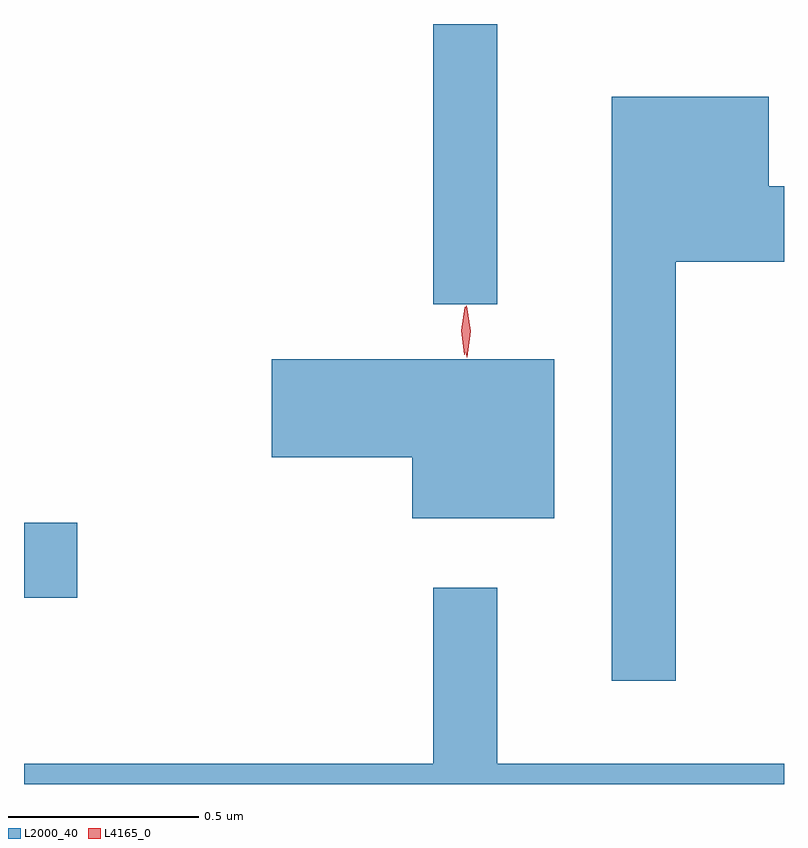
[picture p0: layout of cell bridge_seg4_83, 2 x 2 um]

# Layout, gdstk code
import gdstk
lib = gdstk.Library(unit=1e-6, precision=1e-09)
def R(c, l, rs):  # rectangles x0, y0, x1, y1
    for r in rs: c.add(gdstk.rectangle(r[:2], r[2:], *l))
def P(c, l, *ps):  # polygons
    for p in ps: c.add(gdstk.Polygon(p, *l))
L2000_40 = (2000, 40)
L4165_0 = (4165, 0)

bridge_seg4_83 = lib.new_cell('bridge_seg4_83')
R(bridge_seg4_83, L2000_40, [(1123.734,1375.361,1123.874,1375.559), (1124.811,1376.133,1124.979,1376.871)])
P(bridge_seg4_83, L2000_40, [(1125.449,1376.246),(1125.734,1376.246),(1125.734,1376.444),(1125.694,1376.444),(1125.694,1376.679),(1125.281,1376.679),(1125.281,1375.143),(1125.449,1375.143)],
  [(1125.129,1375.989),(1124.386,1375.989),(1124.386,1375.731),(1124.756,1375.731),(1124.756,1375.571),(1125.129,1375.571)],
  [(1125.734,1374.924),(1124.979,1374.924),(1124.979,1375.388),(1124.811,1375.388),(1124.811,1374.924),(1123.734,1374.924),(1123.734,1374.871),(1125.734,1374.871)])
P(bridge_seg4_83, L4165_0, [(1124.893,1376),(1124.893,1376),(1124.884,1376.064),(1124.894,1376.126),(1124.895,1376.127),(1124.896,1376.126),(1124.904,1376.063),(1124.894,1376)],
  [(1124.899,1375.994),(1124.899,1375.994),(1124.889,1376.062),(1124.898,1376.13),(1124.898,1376.13),(1124.899,1376.13),(1124.909,1376.062),(1124.9,1375.994)])

lib.write_gds('bridge_seg4_83.gds')
